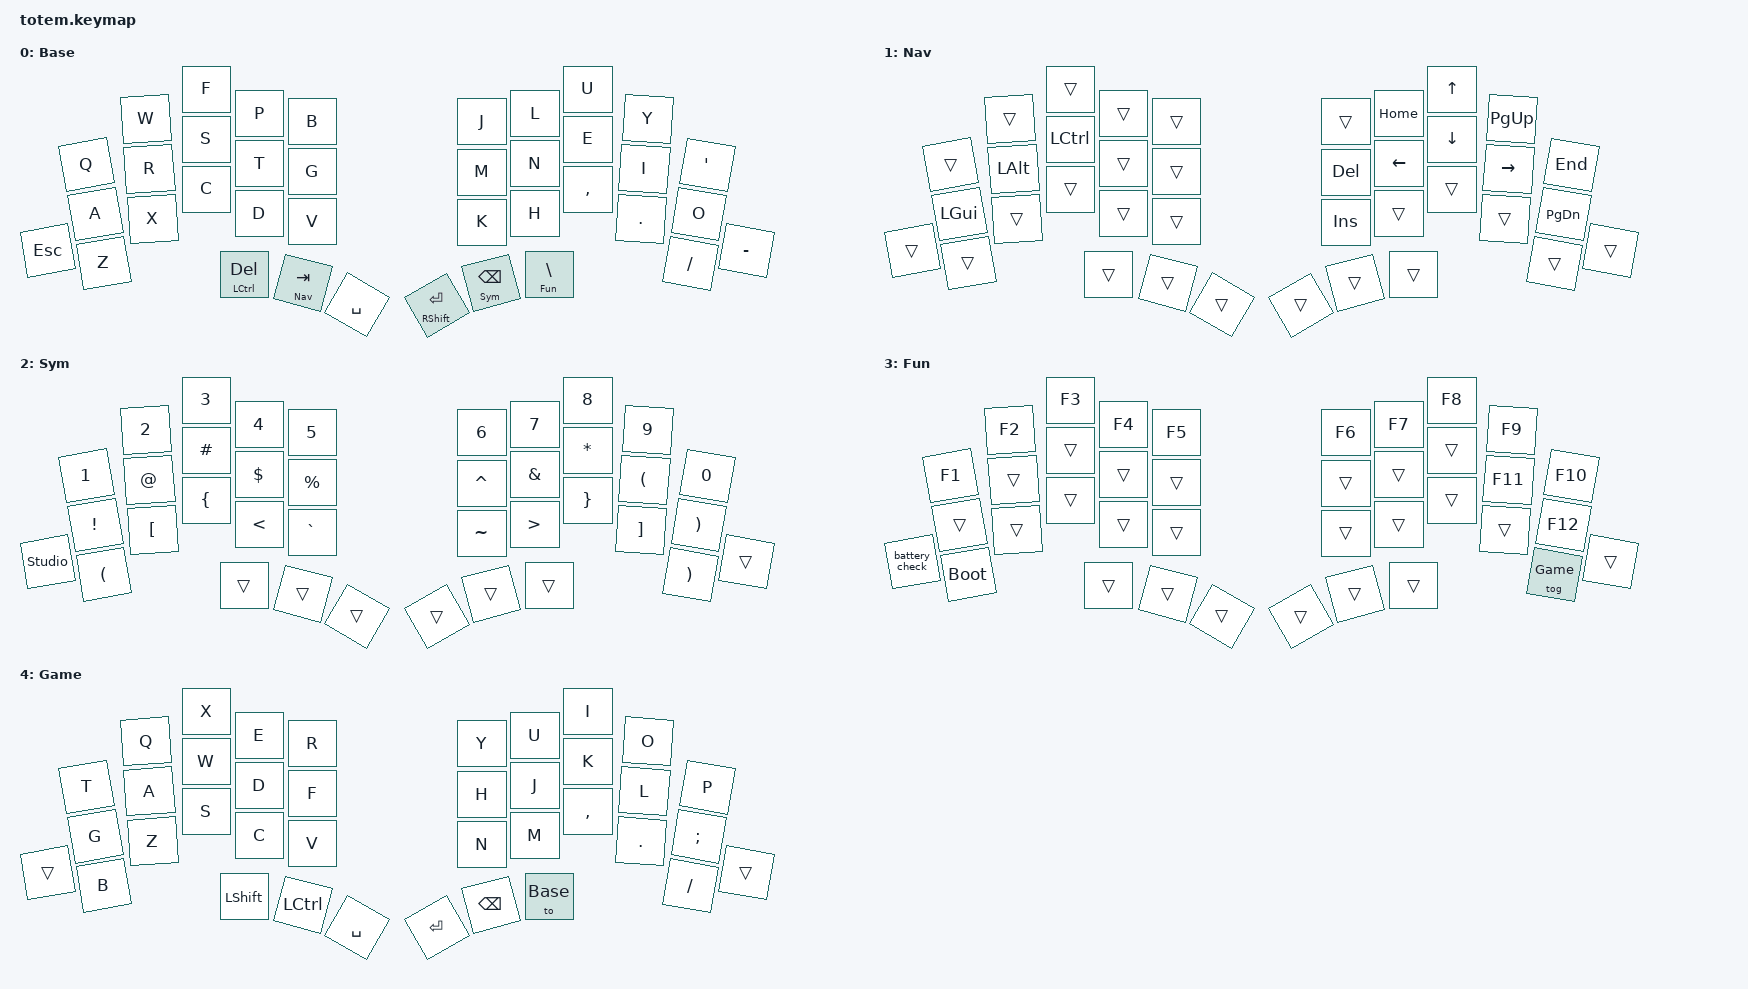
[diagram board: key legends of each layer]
//
//                                                        ▀▀▀▀▀     ▀▀▀▀▀          ▀▀█▀▀
//                                                        ▄▀▀▀▄  ▄  ▄▀▀▀▄  ▄  ▄▀▀▀▄  █  ▄▀▀▀▄
//                                                        █   █  █  █   █  █  █   █  █  █   █
//                                                         ▀▀▀   █   ▀▀▀   █   ▀▀▀   ▀   ▀▀▀
//                                                               █      ▄▄▄█▄▄▄    █   █
//                                                               ▀      █  █  █     █▄█
//                                                             ▀▀▀▀▀    █  █  █      ▀
//                                                                      ▀  ▀  ▀
//
// ▄▄▄▄▄▄▄▄▄▄▄▄▄▄▄▄▄▄▄▄▄▄▄▄▄▄▄▄▄▄▄▄▄▄▄▄▄▄▄▄▄▄▄▄▄▄▄▄▄▄▄▄▄▄▄▄▄▄▄▄▄▄▄▄▄▄▄▄▄▄▄▄▄▄▄▄▄▄▄▄▄▄▄▄▄▄▄▄▄▄▄▄▄▄▄▄▄▄▄▄▄▄▄▄▄▄▄▄▄▄▄▄▄▄▄▄▄▄▄▄▄▄▄▄▄▄▄▄▄▄▄▄▄▄▄▄▄▄▄▄▄▄▄▄▄▄▄▄▄

#include <behaviors.dtsi>
#include <dt-bindings/zmk/keys.h>

#define Base  0
#define Nav   1
#define Sym   2
#define Fun   3
#define Game  4

&mt {
    quick-tap-ms = <100>;
    global-quick-tap;
    flavor = "tap-preferred";
    tapping-term-ms = <170>;
};

&lt {
    tapping-term-ms = <240>;
    flavor = "balanced";
    quick-tap-ms = <150>;
};

/ {
    /* The manual sleep gesture (press Esc+Z or Slash+Minus together, then
     * let go) is not a ZMK combo - see src/totem_sleep.c for why and how it
     * works. It doesn't need anything here: Escape/Z/Slash/Minus keep their
     * normal &kp bindings below, and src/totem_sleep.c watches those same
     * positions locally on each half. */
    keymap {
        compatible = "zmk,keymap";

        Base {
            display-name = "Base";
            bindings = <
      &kp Q       &kp W       &kp F       &kp P       &kp B              &kp J       &kp L       &kp U       &kp Y       &kp APOSTROPHE
      &kp A       &kp R       &kp S       &kp T       &kp G              &kp M       &kp N       &kp E       &kp I       &kp O
&kp ESCAPE  &kp Z       &kp X       &kp C       &kp D       &kp V              &kp K       &kp H       &kp COMMA   &kp DOT     &kp SLASH   &kp MINUS
                                    &mt LCTRL DELETE  &lt Nav TAB   &kp SPACE      &mt RSHFT RETURN  &lt Sym BACKSPACE  &lt Fun BACKSLASH
            >;
        };

        Nav {
            display-name = "Nav";
            bindings = <
      &trans      &trans      &trans      &trans      &trans             &trans      &kp HOME    &kp UP         &kp PAGE_UP  &kp END
      &kp LGUI    &kp LALT    &kp LCTRL   &trans      &trans             &kp DELETE  &kp LEFT    &kp DOWN       &kp RIGHT    &kp PAGE_DOWN
&trans      &trans      &trans      &trans      &trans      &trans             &kp INSERT  &trans      &trans         &trans       &trans       &trans
                                    &trans      &trans      &trans             &trans      &trans      &trans
            >;
        };

        Sym {
            display-name = "Sym";
            bindings = <
      &kp NUMBER_1     &kp NUMBER_2  &kp NUMBER_3   &kp NUMBER_4   &kp NUMBER_5       &kp NUMBER_6  &kp NUMBER_7      &kp NUMBER_8  &kp NUMBER_9   &kp NUMBER_0
      &kp EXCLAMATION  &kp AT        &kp HASH       &kp DOLLAR     &kp PERCENT        &kp CARET     &kp AMPERSAND     &kp ASTERISK  &kp LPAR       &kp RPAR
&studio_unlock   &kp LPAR      &kp LBKT       &kp LBRC       &kp LESS_THAN  &kp GRAVE          &kp TILDE     &kp GREATER_THAN  &kp RBRC      &kp RBKT       &kp RPAR       &trans
                                       &trans        &trans      &trans             &trans      &trans      &trans
            >;
        };

        Fun {
            display-name = "Fun";
            bindings = <
      &kp F1      &kp F2      &kp F3      &kp F4      &kp F5             &kp F6      &kp F7      &kp F8      &kp F9      &kp F10
      &trans      &trans      &trans      &trans      &trans             &trans      &trans      &trans      &kp F11     &kp F12
&battery_check  &bootloader  &trans      &trans      &trans      &trans             &trans      &trans      &trans      &trans      &tog Game    &trans
                                    &trans      &trans      &trans             &trans      &trans      &trans
            >;
        };

        Game {
            display-name = "Game";
            bindings = <
      &kp T       &kp Q       &kp X       &kp E       &kp R              &kp Y       &kp U       &kp I       &kp O       &kp P
      &kp G       &kp A       &kp W       &kp D       &kp F              &kp H       &kp J       &kp K       &kp L       &kp SEMICOLON
&trans      &kp B       &kp Z       &kp S       &kp C       &kp V              &kp N       &kp M       &kp COMMA   &kp DOT     &kp SLASH   &trans
                                    &kp LSHFT   &kp LCTRL   &kp SPACE          &kp RETURN  &kp BACKSPACE  &to Base
            >;
        };
    };
};
